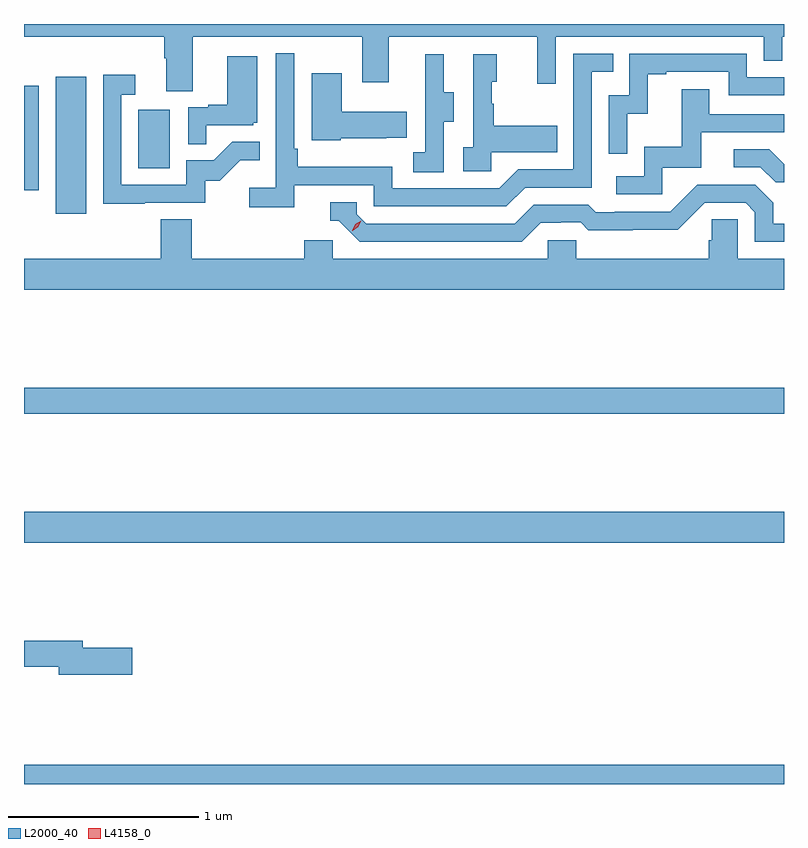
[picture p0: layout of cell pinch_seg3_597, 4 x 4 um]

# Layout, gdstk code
import gdstk
lib = gdstk.Library(unit=1e-6, precision=1e-09)
def R(c, l, rs):  # rectangles x0, y0, x1, y1
    for r in rs: c.add(gdstk.rectangle(r[:2], r[2:], *l))
def P(c, l, *ps):  # polygons
    for p in ps: c.add(gdstk.Polygon(p, *l))
L2000_40 = (2000, 40)
L4158_0 = (4158, 0)

pinch_seg3_597 = lib.new_cell('pinch_seg3_597')
R(pinch_seg3_597, L2000_40, [(1035.18,684.995,1039.18,685.096), (1035.18,686.264,1039.18,686.428), (1035.18,686.944,1039.18,687.08), (1035.347,687.996,1035.508,688.717), (1035.18,688.119,1035.258,688.67), (1035.782,688.236,1035.946,688.543)])
P(pinch_seg3_597, L2000_40, [(1036.069,688.928),(1036.961,688.928),(1036.961,688.689),(1037.101,688.689),(1037.101,688.928),(1037.882,688.928),(1037.882,688.68),(1037.979,688.68),(1037.979,688.928),(1039.074,688.928),(1039.074,688.801),(1039.17,688.801),(1039.17,688.928),(1039.18,688.928),(1039.18,688.995),(1035.18,688.995),(1035.18,688.928),(1035.917,688.928),(1035.917,688.816),(1035.929,688.816),(1035.929,688.642),(1036.069,688.642)],
  [(1036.603,688.146),(1037.022,688.146),(1037.022,688.035),(1037.719,688.035),(1037.818,688.134),(1038.168,688.134),(1038.168,688.743),(1038.281,688.743),(1038.281,688.839),(1038.072,688.839),(1038.072,688.23),(1037.781,688.23),(1037.682,688.131),(1037.118,688.131),(1037.118,688.243),(1036.622,688.243),(1036.622,688.339),(1036.602,688.339),(1036.602,688.84),(1036.506,688.84),(1036.506,688.132),(1036.365,688.132),(1036.365,688.03),(1036.603,688.03)],
  [(1038.354,688.523),(1038.464,688.523),(1038.464,688.731),(1038.559,688.731),(1038.559,688.743),(1038.888,688.743),(1038.888,688.62),(1039.18,688.62),(1039.18,688.716),(1038.984,688.716),(1038.984,688.839),(1038.366,688.839),(1038.366,688.62),(1038.258,688.62),(1038.258,688.311),(1038.354,688.311)],
  [(1037.64,688.319),(1037.987,688.319),(1037.987,688.459),(1037.653,688.459),(1037.653,688.574),(1037.643,688.574),(1037.643,688.692),(1037.668,688.692),(1037.668,688.837),(1037.544,688.837),(1037.544,688.346),(1037.493,688.346),(1037.493,688.221),(1037.64,688.221)],
  [(1037.388,688.48),(1037.443,688.48),(1037.443,688.635),(1037.389,688.635),(1037.389,688.837),(1037.291,688.837),(1037.291,688.623),(1037.292,688.623),(1037.292,688.319),(1037.228,688.319),(1037.228,688.216),(1037.388,688.216)],
  [(1036.139,688.461),(1036.386,688.461),(1036.386,688.476),(1036.408,688.476),(1036.408,688.825),(1036.25,688.825),(1036.25,688.57),(1036.151,688.57),(1036.151,688.557),(1036.044,688.557),(1036.044,688.363),(1036.139,688.363)],
  [(1036.848,688.394),(1037.087,688.394),(1037.087,688.397),(1037.195,688.397),(1037.195,688.534),(1036.852,688.534),(1036.852,688.735),(1036.694,688.735),(1036.694,688.382),(1036.848,688.382)],
  [(1035.815,688.053),(1036.134,688.053),(1036.134,688.17),(1036.21,688.17),(1036.317,688.277),(1036.421,688.277),(1036.421,688.376),(1036.277,688.376),(1036.179,688.278),(1036.035,688.278),(1036.035,688.149),(1035.693,688.149),(1035.693,688.623),(1035.766,688.623),(1035.766,688.729),(1035.597,688.729),(1035.597,688.048),(1035.815,688.048)],
  [(1038.54,688.239),(1038.745,688.239),(1038.745,688.425),(1039.18,688.425),(1039.18,688.521),(1038.787,688.521),(1038.787,688.651),(1038.643,688.651),(1038.643,688.348),(1038.444,688.348),(1038.444,688.194),(1038.297,688.194),(1038.297,688.098),(1038.54,688.098)],
  [(1039.18,688.257),(1039.102,688.335),(1038.915,688.335),(1038.915,688.242),(1039.056,688.242),(1039.136,688.162),(1039.18,688.162)],
  [(1037.899,687.948),(1038.006,687.948),(1038.006,687.951),(1038.109,687.951),(1038.151,687.909),(1038.384,687.909),(1038.384,687.911),(1038.62,687.911),(1038.762,688.053),(1038.978,688.053),(1039.026,688.005),(1039.026,687.849),(1039.18,687.849),(1039.18,687.945),(1039.123,687.945),(1039.123,688.055),(1039.029,688.149),(1038.723,688.149),(1038.582,688.008),(1038.289,688.008),(1038.289,688.005),(1038.19,688.005),(1038.151,688.044),(1037.862,688.044),(1037.763,687.945),(1036.98,687.945),(1036.932,687.993),(1036.932,688.056),(1036.793,688.056),(1036.793,687.96),(1036.836,687.96),(1036.947,687.849),(1037.8,687.849)],
  [(1039.18,687.76),(1038.936,687.76),(1038.936,687.968),(1038.799,687.968),(1038.799,687.858),(1038.785,687.858),(1038.785,687.76),(1038.087,687.76),(1038.087,687.858),(1037.937,687.858),(1037.937,687.76),(1036.806,687.76),(1036.806,687.858),(1036.655,687.858),(1036.655,687.76),(1036.064,687.76),(1036.064,687.968),(1035.899,687.968),(1035.899,687.76),(1035.18,687.76),(1035.18,687.596),(1039.18,687.596)],
  [(1035.751,685.712),(1035.49,685.712),(1035.49,685.748),(1035.18,685.748),(1035.18,685.612),(1035.362,685.612),(1035.362,685.57),(1035.751,685.57)])
P(pinch_seg3_597, L4158_0, [(1036.908,687.907),(1036.908,687.907),(1036.924,687.94),(1036.955,687.96),(1036.955,687.96),(1036.955,687.96),(1036.939,687.927),(1036.909,687.907)])

lib.write_gds('pinch_seg3_597.gds')
